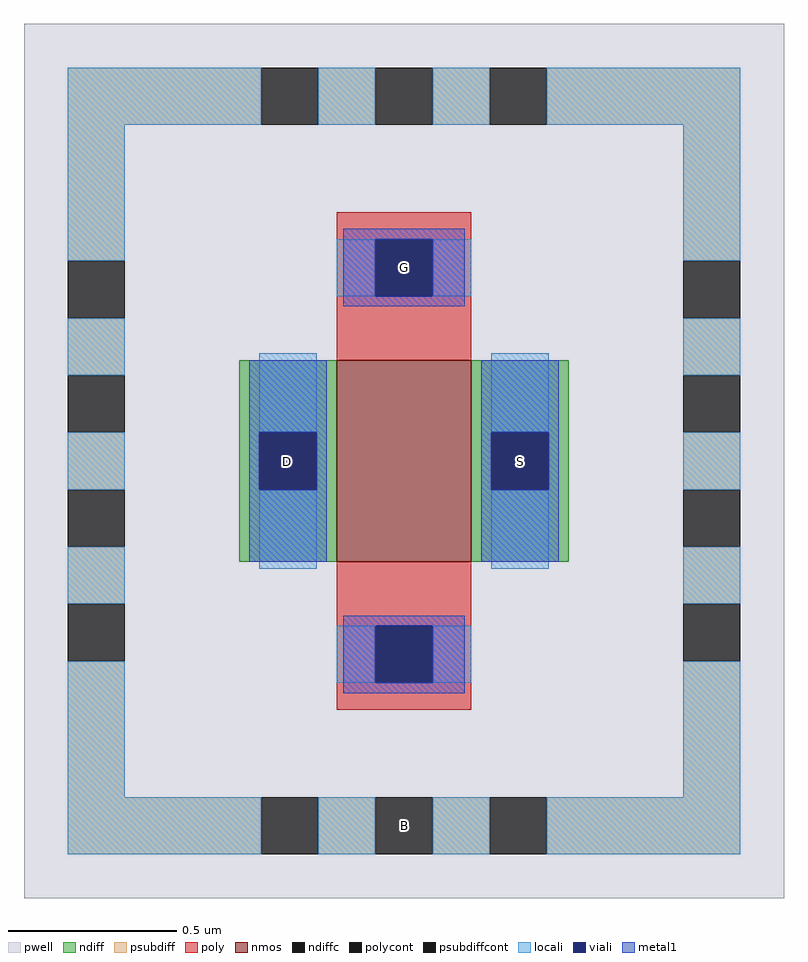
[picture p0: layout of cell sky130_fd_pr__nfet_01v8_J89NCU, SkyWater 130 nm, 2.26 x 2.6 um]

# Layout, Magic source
magic
tech sky130A
magscale 1 2
<< pwell >>
rect -226 -260 226 260
<< nmos >>
rect -40 -60 40 60
<< ndiff >>
rect -98 17 -40 60
rect -98 -17 -86 17
rect -52 -17 -40 17
rect -98 -60 -40 -17
rect 40 17 98 60
rect 40 -17 52 17
rect 86 -17 98 17
rect 40 -60 98 -17
<< ndiffc >>
rect -86 -17 -52 17
rect 52 -17 86 17
<< psubdiff >>
rect -200 200 -85 234
rect -51 200 -17 234
rect 17 200 51 234
rect 85 200 200 234
rect -200 119 -166 200
rect -200 51 -166 85
rect 166 119 200 200
rect -200 -17 -166 17
rect -200 -85 -166 -51
rect 166 51 200 85
rect 166 -17 200 17
rect -200 -200 -166 -119
rect 166 -85 200 -51
rect 166 -200 200 -119
rect -200 -234 -85 -200
rect -51 -234 -17 -200
rect 17 -234 51 -200
rect 85 -234 200 -200
<< psubdiffcont >>
rect -85 200 -51 234
rect -17 200 17 234
rect 51 200 85 234
rect -200 85 -166 119
rect 166 85 200 119
rect -200 17 -166 51
rect -200 -51 -166 -17
rect 166 17 200 51
rect 166 -51 200 -17
rect -200 -119 -166 -85
rect 166 -119 200 -85
rect -85 -234 -51 -200
rect -17 -234 17 -200
rect 51 -234 85 -200
<< poly >>
rect -40 132 40 148
rect -40 98 -17 132
rect 17 98 40 132
rect -40 60 40 98
rect -40 -98 40 -60
rect -40 -132 -17 -98
rect 17 -132 40 -98
rect -40 -148 40 -132
<< polycont >>
rect -17 98 17 132
rect -17 -132 17 -98
<< locali >>
rect -200 200 -85 234
rect -51 200 -17 234
rect 17 200 51 234
rect 85 200 200 234
rect -200 119 -166 200
rect -40 98 -17 132
rect 17 98 40 132
rect 166 119 200 200
rect -200 51 -166 85
rect -200 -17 -166 17
rect -200 -85 -166 -51
rect -86 17 -52 64
rect -86 -64 -52 -17
rect 52 17 86 64
rect 52 -64 86 -17
rect 166 51 200 85
rect 166 -17 200 17
rect 166 -85 200 -51
rect -200 -200 -166 -119
rect -40 -132 -17 -98
rect 17 -132 40 -98
rect 166 -200 200 -119
rect -200 -234 -85 -200
rect -51 -234 -17 -200
rect 17 -234 51 -200
rect 85 -234 200 -200
<< viali >>
rect -17 98 17 132
rect -86 -17 -52 17
rect 52 -17 86 17
rect -17 -132 17 -98
<< metal1 >>
rect -36 132 36 138
rect -36 98 -17 132
rect 17 98 36 132
rect -36 92 36 98
rect -92 17 -46 60
rect -92 -17 -86 17
rect -52 -17 -46 17
rect -92 -60 -46 -17
rect 46 17 92 60
rect 46 -17 52 17
rect 86 -17 92 17
rect 46 -60 92 -17
rect -36 -98 36 -92
rect -36 -132 -17 -98
rect 17 -132 36 -98
rect -36 -138 36 -132
<< labels >>
rlabel locali s 0 -217 0 -217 4 B
rlabel locali s -69 0 -69 0 4 D
rlabel locali s 69 0 69 0 4 S
rlabel locali s 0 115 0 115 4 G
<< properties >>
string FIXED_BBOX -183 -217 183 217
<< end >>
